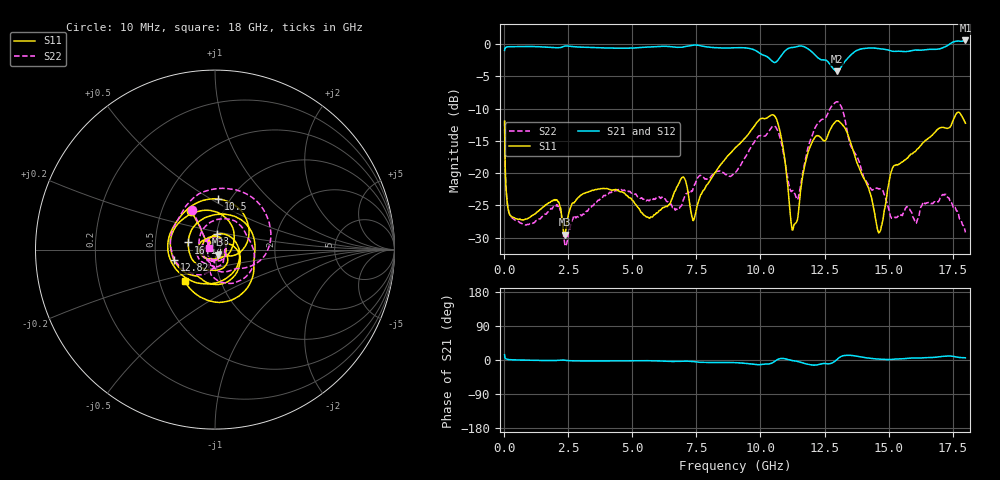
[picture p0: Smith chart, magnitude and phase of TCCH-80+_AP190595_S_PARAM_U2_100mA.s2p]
!Created: 07-29-2019 at 10:55:36
!Mini-Circuits
!S2P DATA File Format
!Type: RF CHOKE
!Port 1: RF; Port 2: RF AND DC IN
!TEST CONDITIONS: Z:50 OHM SYSTEM, INPUT POWER = -10dBm, TEMP:25°C
!REMARKS: TESTED WITH 100 mA CURRENT; FULL 2 PORT CALIBRATION OF THE SYSTEM; FIXTURE THRU LINE LOSS NORMALIZED VIA DATA/MEMORY FUNCTION; FIXTURE RETURN LOSS NORMALIZED VIA DATA-MEMORY FUNCTION.
!FIXTURE: 90-2-20-165
!PRESSING ARM: B85-TA-076
!MODEL: TCCH-80+
!S/N: U2_100mA
# MHZ S DB R 50
!Frequency  S11 dB  S11 DEG  S21 dB  S21 DEG  S12 dB  S12 DEG  S22 dB  S22 DEG
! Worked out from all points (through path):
!   905 points, 10 MHz to 18 GHz, reference 50 ohm
!   highest |S21| = 0.56 dB at 18 GHz (marker M1); lowest = -4.2 dB at 12.98 GHz (marker M2)
!   lowest |S11| = -29.6 dB at 2.36 GHz (marker M3), VSWR 1.07, Z = 51.6 - j2.95 ohm
!   |S11| at or under -10 dB: start of sweep to end of sweep
!   |S22| runs from -31.3 to -8.9 dB; largest |S21 - S12| = 0.0062
!   S11 on the Smith chart (normalised r, x): 10 MHz: 0.70, +0.32; 8 GHz: 1.00, +0.17; 10.5 GHz: 0.88, +0.54; 12.82 GHz: 0.62, -0.08; 16.14 GHz: 0.74, +0.06; 18 GHz: 0.67, -0.25
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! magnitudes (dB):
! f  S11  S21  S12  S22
! 10 MHz  -12.0  -1.0  -1.0  -11.9
! 100 MHz  -24.1  -0.5  -0.5  -24.1
! 260 MHz  -26.7  -0.4  -0.4  -26.8
! 2.06 GHz  -24.2  -0.6  -0.6  -24.9
! 2.36 GHz  -29.6  -0.3  -0.3  -31.1
! 3.02 GHz  -23.3  -0.5  -0.5  -26.6
! 6.02 GHz  -26.0  -0.4  -0.4  -23.7
! 6.98 GHz  -20.6  -0.5  -0.4  -24.2
! 7.4 GHz  -27.2  -0.2  -0.2  -22.1
! 8 GHz  -21.3  -0.5  -0.5  -20.8
! 9.02 GHz  -16.1  -0.6  -0.6  -19.9
! 10.5 GHz  -11.0  -2.8  -2.9  -12.7
! 10.84 GHz  -15.1  -1.6  -1.6  -15.8
! 11.28 GHz  -28.5  -0.5  -0.5  -22.7
! 12.02 GHz  -15.2  -1.3  -1.2  -14.2
! 12.82 GHz  -12.5  -3.7  -3.8  -9.4
! 12.98 GHz  -11.9  -4.2  -4.2  -8.9
! 14.62 GHz  -29.3  -0.7  -0.7  -22.4
! 15.02 GHz  -21.4  -1.0  -0.9  -25.8
! 16.14 GHz  -16.2  -0.9  -0.9  -27.1
! 17.18 GHz  -13.0  -0.5  -0.5  -23.3
! 18 GHz  -12.3  0.6  0.6  -29.2
